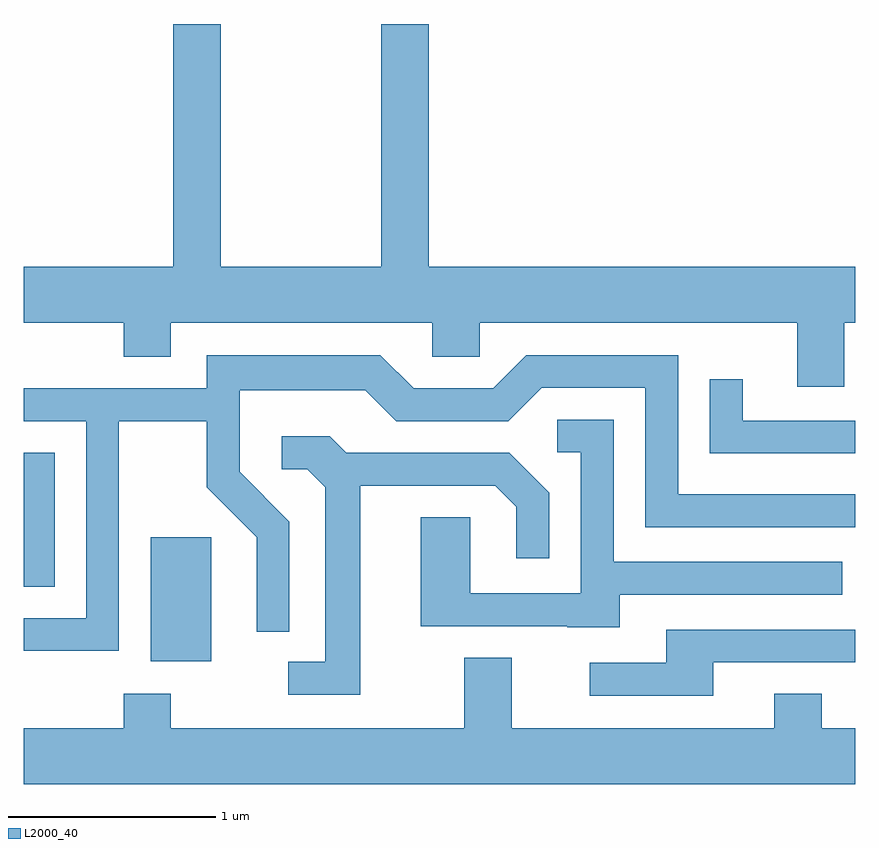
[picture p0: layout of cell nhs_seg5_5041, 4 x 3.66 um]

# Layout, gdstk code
import gdstk
lib = gdstk.Library(unit=1e-6, precision=1e-09)
def R(c, l, rs):  # rectangles x0, y0, x1, y1
    for r in rs: c.add(gdstk.rectangle(r[:2], r[2:], *l))
def P(c, l, *ps):  # polygons
    for p in ps: c.add(gdstk.Polygon(p, *l))
L2000_40 = (2000, 40)

nhs_seg5_5041 = lib.new_cell('nhs_seg5_5041')
R(nhs_seg5_5041, L2000_40, [(336.221,1393.006,336.514,1393.604), (335.611,1393.366,335.759,1394.009)])
P(nhs_seg5_5041, L2000_40, [(339.559,1394.636),(339.611,1394.636),(339.611,1394.904),(337.559,1394.904),(337.559,1396.072),(337.331,1396.072),(337.331,1394.904),(336.559,1394.904),(336.559,1396.072),(336.331,1396.072),(336.331,1394.904),(335.611,1394.904),(335.611,1394.636),(336.091,1394.636),(336.091,1394.471),(336.319,1394.471),(336.319,1394.636),(337.576,1394.636),(337.576,1394.471),(337.804,1394.471),(337.804,1394.636),(339.331,1394.636),(339.331,1394.326),(339.559,1394.326)],
  [(336.069,1394.161),(336.491,1394.161),(336.491,1393.844),(336.731,1393.604),(336.731,1393.148),(336.889,1393.148),(336.889,1393.677),(336.649,1393.917),(336.649,1394.311),(337.254,1394.311),(337.404,1394.161),(337.942,1394.161),(338.102,1394.321),(338.601,1394.321),(338.601,1393.651),(339.611,1393.651),(339.611,1393.809),(338.759,1393.809),(338.759,1394.479),(338.029,1394.479),(337.869,1394.319),(337.487,1394.319),(337.327,1394.479),(336.491,1394.479),(336.491,1394.319),(335.611,1394.319),(335.611,1394.161),(335.911,1394.161),(335.911,1393.214),(335.611,1393.214),(335.611,1393.056),(336.069,1393.056)],
  [(339.611,1394.164),(339.069,1394.164),(339.069,1394.363),(338.911,1394.363),(338.911,1394.006),(339.611,1394.006)],
  [(338.479,1393.326),(339.548,1393.326),(339.548,1393.484),(338.449,1393.484),(338.449,1394.169),(338.178,1394.169),(338.178,1394.011),(338.291,1394.011),(338.291,1393.334),(337.759,1393.334),(337.759,1393.699),(337.521,1393.699),(337.521,1393.176),(338.225,1393.176),(338.225,1393.171),(338.479,1393.171)],
  [(337.229,1393.851),(337.879,1393.851),(337.981,1393.749),(337.981,1393.503),(338.139,1393.503),(338.139,1393.817),(337.947,1394.009),(337.162,1394.009),(337.082,1394.089),(336.853,1394.089),(336.853,1393.931),(336.974,1393.931),(337.061,1393.844),(337.061,1393.004),(336.883,1393.004),(336.883,1392.846),(337.229,1392.846)],
  [(338.929,1393.001),(339.611,1393.001),(339.611,1393.159),(338.701,1393.159),(338.701,1392.999),(338.333,1392.999),(338.333,1392.841),(338.929,1392.841)],
  [(339.221,1392.849),(339.221,1392.684),(337.959,1392.684),(337.959,1393.024),(337.731,1393.024),(337.731,1392.684),(336.319,1392.684),(336.319,1392.849),(336.091,1392.849),(336.091,1392.684),(335.611,1392.684),(335.611,1392.416),(339.611,1392.416),(339.611,1392.684),(339.449,1392.684),(339.449,1392.849)])

lib.write_gds('nhs_seg5_5041.gds')
